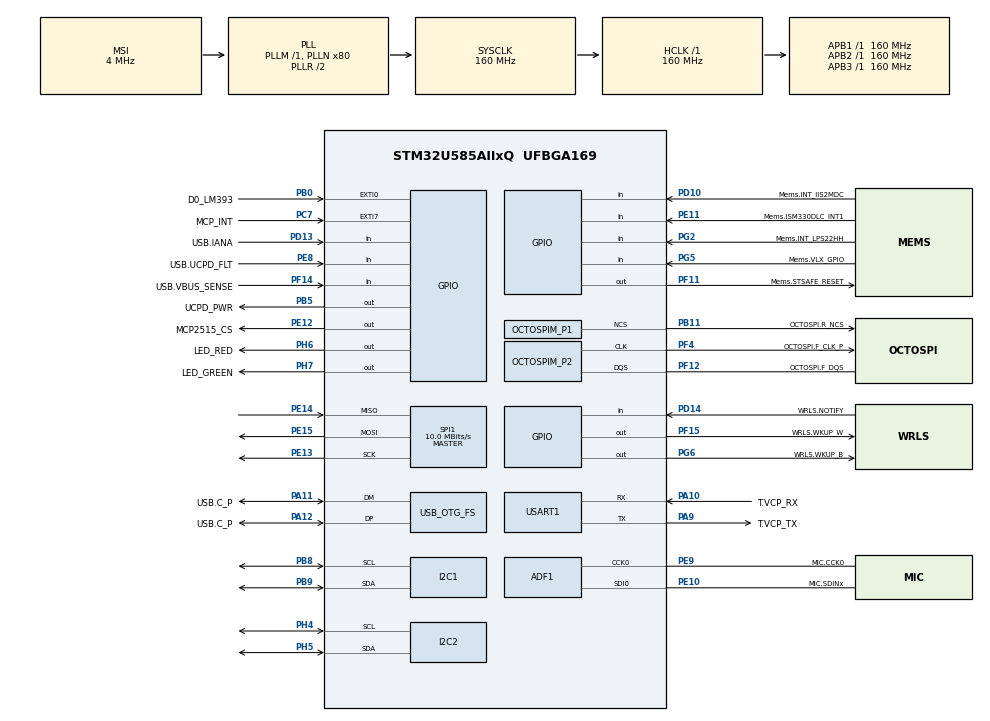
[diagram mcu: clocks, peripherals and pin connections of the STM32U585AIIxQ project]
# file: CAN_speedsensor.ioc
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CORTEX_M33_NS.userName=CORTEX_M33
I2C1.Timing=0x30909DEC
I2C2.Timing=0x30909DEC
Mcu.Family=STM32U5
Mcu.Name=STM32U585AIIxQ
Mcu.Package=UFBGA169
NVIC.EXTI0_IRQn=true\:0\:0\:false\:false\:true\:false\:true\:true\:true
NVIC.EXTI7_IRQn=true\:0\:0\:false\:false\:true\:false\:true\:true\:true
NVIC.PriorityGroup=NVIC_PRIORITYGROUP_4
NVIC.TIM6_IRQn=true\:15\:0\:false\:false\:true\:false\:false\:true\:true
NVIC.TimeBase=TIM6_IRQn
NVIC.TimeBaseIP=TIM6
OCTOSPI1.ChipSelectBoundary=10
OCTOSPI1.ClockPrescaler=2
OCTOSPI1.DelayBlockBypass=HAL_OSPI_DELAY_BLOCK_USED
OCTOSPI1.DelayHoldQuarterCycle=HAL_OSPI_DHQC_ENABLE
OCTOSPI1.DeviceSize=23
OCTOSPI1.MemoryType=HAL_OSPI_MEMTYPE_APMEMORY
OCTOSPI1.Refresh=100
OCTOSPI2.ChipSelectBoundary=0
OCTOSPI2.ChipSelectHighTime=2
OCTOSPI2.ClockPrescaler=4
OCTOSPI2.DelayBlockBypass=HAL_OSPI_DELAY_BLOCK_USED
OCTOSPI2.DelayHoldQuarterCycle=HAL_OSPI_DHQC_ENABLE
OCTOSPI2.DeviceSize=26
OCTOSPI2.FifoThreshold=4
OCTOSPI2.MemoryType=HAL_OSPI_MEMTYPE_MACRONIX
PA10.GPIO_Label=T.VCP_RX
PA10.Mode=Asynchronous
PA10.Signal=USART1_RX
PA11.GPIO_Label=USB.C_P
PA11.Mode=Device_Only
PA11.Signal=USB_OTG_FS_DM
PA12.GPIO_Label=USB.C_P
PA12.Mode=Device_Only
PA12.Signal=USB_OTG_FS_DP
PA13\ (JTMS/SWDIO).GPIO_Label=T.SWDIO
PA13\ (JTMS/SWDIO).Mode=Trace_Asynchronous_SW
PA13\ (JTMS/SWDIO).Signal=DEBUG_JTMS-SWDIO
PA14\ (JTCK/SWCLK).GPIO_Label=T.SWCLK
PA14\ (JTCK/SWCLK).Mode=Trace_Asynchronous_SW
PA14\ (JTCK/SWCLK).Signal=DEBUG_JTCK-SWCLK
PA9.GPIO_Label=T.VCP_TX
PA9.Mode=Asynchronous
PA9.Signal=USART1_TX
PB0.GPIO_Label=D0_LM393
PB0.GPIO_ModeDefaultEXTI=GPIO_MODE_IT_FALLING
PB0.GPIO_PuPd=GPIO_PULLUP
PB0.Signal=GPXTI0
PB11.GPIO_Label=OCTOSPI.R_NCS
PB11.Mode=OCTOSPI1_Port1_NCS
PB11.Signal=OCTOSPIM_P1_NCS
PB15.GPIO_Label=USB.UCPD_CC2
PB15.Signal=UCPD1_CC2
PB3\ (JTDO/TRACESWO).GPIO_Label=T.SWO
PB3\ (JTDO/TRACESWO).Mode=Trace_Asynchronous_SW
PB3\ (JTDO/TRACESWO).Signal=DEBUG_JTDO-SWO
PB5.GPIO_Label=UCPD_PWR
PB5.Signal=GPIO_Output
PB8.Mode=I2C
PB8.Signal=I2C1_SCL
PB9.Mode=I2C
PB9.Signal=I2C1_SDA
PC10.GPIO_Label=WRLS.UART4_TX
PC10.Signal=UART4_TX
PC7.GPIO_Label=MCP_INT
PC7.GPIO_ModeDefaultEXTI=GPIO_MODE_IT_FALLING
PC7.GPIO_PuPd=GPIO_PULLUP
PC7.Signal=GPXTI7
PD10.GPIO_Label=Mems.INT_IIS2MDC
PD10.Signal=GPIO_Input
PD13.GPIO_Label=USB.IANA
PD13.Signal=GPIO_Input
PD14.GPIO_Label=WRLS.NOTIFY
PD14.Signal=GPIO_Input
PD3.GPIO_Mode=GPIO_MODE_AF_PP
PD3.GPIO_PuPd=GPIO_NOPULL
PD3.GPIO_Speed=GPIO_SPEED_FREQ_LOW
PD3.Signal=SPI2_MISO
PD4.GPIO_Mode=GPIO_MODE_AF_PP
PD4.GPIO_PuPd=GPIO_NOPULL
PD4.GPIO_Speed=GPIO_SPEED_FREQ_LOW
PD4.Signal=SPI2_MOSI
PE10.GPIO_Label=MIC.SDINx
PE10.Mode=MOD_ADF_CCK
PE10.Signal=ADF1_SDI0
PE11.GPIO_Label=Mems.ISM330DLC_INT1
PE11.Signal=GPIO_Input
PE12.GPIO_Label=MCP2515_CS
PE12.GPIO_PuPd=GPIO_NOPULL
PE12.PinState=GPIO_PIN_SET
PE12.Signal=GPIO_Output
PE13.Mode=Full_Duplex_Master
PE13.Signal=SPI1_SCK
PE14.Mode=Full_Duplex_Master
PE14.Signal=SPI1_MISO
PE15.Mode=Full_Duplex_Master
PE15.Signal=SPI1_MOSI
PE8.GPIO_Label=USB.UCPD_FLT
PE8.Signal=GPIO_Input
PE9.GPIO_Label=MIC.CCK0
PE9.Mode=MOD_MDF_CCK0
PE9.Signal=ADF1_CCK0
PF11.GPIO_Label=Mems.STSAFE_RESET
PF11.Signal=GPIO_Output
PF12.GPIO_Label=OCTOSPI.F_DQS
PF12.Mode=OCTOSPI2_Port2_DQS
PF12.Signal=OCTOSPIM_P2_DQS
PF14.GPIO_Label=USB.VBUS_SENSE
PF14.Signal=GPIO_Input
PF15.GPIO_Label=WRLS.WKUP_W
PF15.Signal=GPIO_Output
PF4.GPIO_Label=OCTOSPI.F_CLK_P
PF4.Mode=O2_P2_CLK
PF4.Signal=OCTOSPIM_P2_CLK
PG2.GPIO_Label=Mems.INT_LPS22HH
PG2.Signal=GPIO_Input
PG5.GPIO_Label=Mems.VLX_GPIO
PG5.Signal=GPIO_Input
PG6.GPIO_Label=WRLS.WKUP_B
PG6.Signal=GPIO_Output
PH4.Mode=I2C
PH4.Signal=I2C2_SCL
PH5.Mode=I2C
PH5.Signal=I2C2_SDA
PH6.GPIO_Label=LED_RED
PH6.Signal=GPIO_Output
PH7.GPIO_Label=LED_GREEN
PH7.Signal=GPIO_Output
PH9.GPIO_Label=OCTOSPI.F_IO4
PH9.Signal=OCTOSPIM_P2_IO4
PWR.PowerMode=PWR_SMPS_SUPPLY
ProjectManager.HeapSize=0x200
ProjectManager.StackSize=0x400
ProjectManager.TargetToolchain=STM32CubeIDE
RCC.ADCFreq_Value=16000000
RCC.AHBFreq_Value=160000000
RCC.APB1Freq_Value=160000000
RCC.APB1TimFreq_Value=160000000
RCC.APB2Freq_Value=160000000
RCC.APB2TimFreq_Value=160000000
RCC.APB3Freq_Value=160000000
RCC.CortexFreq_Value=160000000
RCC.DACCLockSelectionVirtual=RCC_DAC1CLKSOURCE_LSI
RCC.EPOD_VALUE=4000000
RCC.HCLKFreq_Value=160000000
RCC.HSE_VALUE=16000000
RCC.HSI48_VALUE=48000000
RCC.HSI_VALUE=16000000
RCC.LSE_VALUE=32768
RCC.LSIDIV_VALUE=32000
RCC.MSI_VALUE=4000000
RCC.PLLN=80
RCC.SYSCLKFreq_VALUE=160000000
RCC.SYSCLKSource=RCC_SYSCLKSOURCE_PLLCLK
RCC.USBFreq_Value=48000000
RCC.VCOOutputFreq_Value=320000000
SPI1.BaudRatePrescaler=SPI_BAUDRATEPRESCALER_16
SPI1.CalculateBaudRate=10.0 MBits/s
SPI1.DataSize=SPI_DATASIZE_8BIT
SPI1.Direction=SPI_DIRECTION_2LINES
SPI1.Mode=SPI_MODE_MASTER
SPI1.VirtualType=VM_MASTER
USART1.VirtualMode-Asynchronous=VM_ASYNC
USB_OTG_FS.VirtualMode=Device_Only
VP_ICACHE_VS_ICACHE.Mode=DirectMappedCache
VP_LPBAMQUEUE_VS_QUEUE.Mode=QUEUEMODE
VP_LPBAM_VS_SIG1.Mode=SmartRun
VP_LPBAM_VS_SIG4.Mode=LPDMA1
VP_MEMORYMAP_VS_MEMORYMAP.Mode=CurAppReg
VP_OCTOSPI1_VS_octo.Mode=octo_mode
VP_OCTOSPI2_VS_octo.Mode=octo_mode
VP_PWR_VS_DBSignals.Mode=DisableDeadBatterySignals
VP_PWR_VS_LPOM.Mode=PowerOptimisation
VP_PWR_VS_SECSignals.Mode=Security/Privilege
VP_SYS_VS_tim6.Mode=TIM6
VP_THREADX_VS_RTOSJjThreadXJjCoreJjDefault.Mode=Core_Default
board=B-U585I-IOT02A

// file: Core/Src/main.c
/* USER CODE BEGIN Header */
/**
  ******************************************************************************
  * @file           : main.c
  * @brief          : Main program body
  ******************************************************************************
  * @attention
  *
  * Copyright (c) 2025 STMicroelectronics.
  * All rights reserved.
  *
  * This software is licensed under terms that can be found in the LICENSE file
  * in the root directory of this software component.
  * If no LICENSE file comes with this software, it is provided AS-IS.
  *
  ******************************************************************************
  */
/* USER CODE END Header */
#include "app_threadx.h"
#include "main.h"

/* USER CODE BEGIN Includes */
#include "mcp2515.h"
#include <string.h>
#include <stdio.h>
#include "core_cm33.h"
/* USER CODE END Includes */

/* USER CODE BEGIN PD */
#define PULSOS_POR_ROTACAO 20  // Number of holes in the encoder disc
#define INTERVALO_ENVIO_MS 100 // Updates the RPM and sends CAN every 100ms (10Hz)
/* USER CODE END PD */

MDF_HandleTypeDef AdfHandle0;
MDF_FilterConfigTypeDef AdfFilterConfig0;

I2C_HandleTypeDef hi2c1;
I2C_HandleTypeDef hi2c2;

OSPI_HandleTypeDef hospi1;
OSPI_HandleTypeDef hospi2;

SPI_HandleTypeDef hspi1;

UART_HandleTypeDef huart1;

PCD_HandleTypeDef hpcd_USB_OTG_FS;

void SystemClock_Config(void);
static void SystemPower_Config(void);
static void MX_GPIO_Init(void);
static void MX_ADF1_Init(void);
static void MX_I2C1_Init(void);
static void MX_I2C2_Init(void);
static void MX_ICACHE_Init(void);
static void MX_OCTOSPI1_Init(void);
static void MX_OCTOSPI2_Init(void);
static void MX_USART1_UART_Init(void);
static void MX_USB_OTG_FS_PCD_Init(void);
static void MX_SPI1_Init(void);

/* USER CODE BEGIN 0 */

//Debug SWV print
int _write(int file, char *ptr, int len) {
    for (int i = 0; i < len; i++) {
        ITM_SendChar(*ptr++);
    }
    return len;
}

/* USER CODE END 0 */

int main(void)
{

  /* MCU Configuration--------------------------------------------------------*/

  /* Reset of all peripherals, Initializes the Flash interface and the Systick. */
  HAL_Init();

  /* Configure the System Power */
  SystemPower_Config();

  /* Configure the system clock */
  SystemClock_Config();

  /* Initialize all configured peripherals */
  MX_GPIO_Init();
  MX_ADF1_Init();
  MX_I2C1_Init();
  MX_I2C2_Init();
  MX_ICACHE_Init();
  MX_OCTOSPI1_Init();
  MX_OCTOSPI2_Init();
  MX_USART1_UART_Init();
  MX_USB_OTG_FS_PCD_Init();
  MX_SPI1_Init();
  /* USER CODE BEGIN 2 */
  	//just for debugging, delete afterwards
    printf("\n--- Sensor initialization check ---\n");

    uint32_t primask = __get_PRIMASK();
    printf("PRIMASK: %lu (It should be 0. If it's 1, interrupts are globally disabled.)\n", primask);
    printf("SCB->VTOR: 0x%08lX (should be 0x08000000)\n", SCB->VTOR);
    printf("ISER[0] final: 0x%08lX\n", NVIC->ISER[0]);

    printf("SWIER Direct Test...\n");

    uint32_t count_antes = pulse_count;

    // !!!!!!!!!!!NAO APAGAR ESSA LINHA!!!!!!!!!!!!!
    EXTI->SWIER1 = (1 << 0);

//    HAL_Delay(100);

    if (pulse_count > count_antes) {
        printf("!!! SUCCESS !!! The sensor code entered the interrupt.\n");
    } else {
        printf("TOTAL FAILURE. The processor refuses to jump to the address. \n");
    }
  /* USER CODE END 2 */

  MX_ThreadX_Init();

  /* We should never get here as control is now taken by the scheduler */

  /* Infinite loop */
  while (1)
  {

  }
}

void SystemClock_Config(void)
{
  RCC_OscInitTypeDef RCC_OscInitStruct = {0};
  RCC_ClkInitTypeDef RCC_ClkInitStruct = {0};

  /** Configure the main internal regulator output voltage
  */
  if (HAL_PWREx_ControlVoltageScaling(PWR_REGULATOR_VOLTAGE_SCALE1) != HAL_OK)
  {
    Error_Handler();
  }

  /** Initializes the CPU, AHB and APB buses clocks
  */
  RCC_OscInitStruct.OscillatorType = RCC_OSCILLATORTYPE_HSI48|RCC_OSCILLATORTYPE_MSI;
  RCC_OscInitStruct.HSI48State = RCC_HSI48_ON;
  RCC_OscInitStruct.MSIState = RCC_MSI_ON;
  RCC_OscInitStruct.MSICalibrationValue = RCC_MSICALIBRATION_DEFAULT;
  RCC_OscInitStruct.MSIClockRange = RCC_MSIRANGE_4;
  RCC_OscInitStruct.PLL.PLLState = RCC_PLL_ON;
  RCC_OscInitStruct.PLL.PLLSource = RCC_PLLSOURCE_MSI;
  RCC_OscInitStruct.PLL.PLLMBOOST = RCC_PLLMBOOST_DIV1;
  RCC_OscInitStruct.PLL.PLLM = 1;
  RCC_OscInitStruct.PLL.PLLN = 80;
  RCC_OscInitStruct.PLL.PLLP = 2;
  RCC_OscInitStruct.PLL.PLLQ = 2;
  RCC_OscInitStruct.PLL.PLLR = 2;
  RCC_OscInitStruct.PLL.PLLRGE = RCC_PLLVCIRANGE_0;
  RCC_OscInitStruct.PLL.PLLFRACN = 0;
  if (HAL_RCC_OscConfig(&RCC_OscInitStruct) != HAL_OK)
  {
    Error_Handler();
  }

  /** Initializes the CPU, AHB and APB buses clocks
  */
  RCC_ClkInitStruct.ClockType = RCC_CLOCKTYPE_HCLK|RCC_CLOCKTYPE_SYSCLK
                              |RCC_CLOCKTYPE_PCLK1|RCC_CLOCKTYPE_PCLK2
                              |RCC_CLOCKTYPE_PCLK3;
  RCC_ClkInitStruct.SYSCLKSource = RCC_SYSCLKSOURCE_PLLCLK;
  RCC_ClkInitStruct.AHBCLKDivider = RCC_SYSCLK_DIV1;
  RCC_ClkInitStruct.APB1CLKDivider = RCC_HCLK_DIV1;
  RCC_ClkInitStruct.APB2CLKDivider = RCC_HCLK_DIV1;
  RCC_ClkInitStruct.APB3CLKDivider = RCC_HCLK_DIV1;

  if (HAL_RCC_ClockConfig(&RCC_ClkInitStruct, FLASH_LATENCY_4) != HAL_OK)
  {
    Error_Handler();
  }
}

/**
  * @brief Power Configuration
  * @retval None
  */
static void SystemPower_Config(void)
{
  HAL_PWREx_EnableVddIO2();

  /*
   * Disable the internal Pull-Up in Dead Battery pins of UCPD peripheral
   */
  HAL_PWREx_DisableUCPDDeadBattery();

  /*
   * Switch to SMPS regulator instead of LDO
   */
  if (HAL_PWREx_ConfigSupply(PWR_SMPS_SUPPLY) != HAL_OK)
  {
    Error_Handler();
  }
}

static void MX_ADF1_Init(void)
{

  /**
    AdfHandle0 structure initialization and HAL_MDF_Init function call
  */
  AdfHandle0.Instance = ADF1_Filter0;
  AdfHandle0.Init.CommonParam.ProcClockDivider = 1;
  AdfHandle0.Init.CommonParam.OutputClock.Activation = DISABLE;
  AdfHandle0.Init.SerialInterface.Activation = ENABLE;
  AdfHandle0.Init.SerialInterface.Mode = MDF_SITF_LF_MASTER_SPI_MODE;
  AdfHandle0.Init.SerialInterface.ClockSource = MDF_SITF_CCK0_SOURCE;
  AdfHandle0.Init.SerialInterface.Threshold = 4;
  AdfHandle0.Init.FilterBistream = MDF_BITSTREAM0_FALLING;
  if (HAL_MDF_Init(&AdfHandle0) != HAL_OK)
  {
    Error_Handler();
  }

  /**
    AdfFilterConfig0 structure initialization

    WARNING : only structure is filled, no specific init function call for filter
  */
  AdfFilterConfig0.DataSource = MDF_DATA_SOURCE_BSMX;
  AdfFilterConfig0.Delay = 0;
  AdfFilterConfig0.CicMode = MDF_ONE_FILTER_SINC4;
  AdfFilterConfig0.DecimationRatio = 2;
  AdfFilterConfig0.Gain = 0;
  AdfFilterConfig0.ReshapeFilter.Activation = DISABLE;
  AdfFilterConfig0.HighPassFilter.Activation = DISABLE;
  AdfFilterConfig0.SoundActivity.Activation = DISABLE;
  AdfFilterConfig0.AcquisitionMode = MDF_MODE_ASYNC_CONT;
  AdfFilterConfig0.FifoThreshold = MDF_FIFO_THRESHOLD_NOT_EMPTY;
  AdfFilterConfig0.DiscardSamples = 0;

}

static void MX_I2C1_Init(void)
{

  hi2c1.Instance = I2C1;
  hi2c1.Init.Timing = 0x30909DEC;
  hi2c1.Init.OwnAddress1 = 0;
  hi2c1.Init.AddressingMode = I2C_ADDRESSINGMODE_7BIT;
  hi2c1.Init.DualAddressMode = I2C_DUALADDRESS_DISABLE;
  hi2c1.Init.OwnAddress2 = 0;
  hi2c1.Init.OwnAddress2Masks = I2C_OA2_NOMASK;
  hi2c1.Init.GeneralCallMode = I2C_GENERALCALL_DISABLE;
  hi2c1.Init.NoStretchMode = I2C_NOSTRETCH_DISABLE;
  if (HAL_I2C_Init(&hi2c1) != HAL_OK)
  {
    Error_Handler();
  }

  /** Configure Analogue filter
  */
  if (HAL_I2CEx_ConfigAnalogFilter(&hi2c1, I2C_ANALOGFILTER_ENABLE) != HAL_OK)
  {
    Error_Handler();
  }

  /** Configure Digital filter
  */
  if (HAL_I2CEx_ConfigDigitalFilter(&hi2c1, 0) != HAL_OK)
  {
    Error_Handler();
  }

}

static void MX_I2C2_Init(void)
{

  hi2c2.Instance = I2C2;
  hi2c2.Init.Timing = 0x30909DEC;
  hi2c2.Init.OwnAddress1 = 0;
  hi2c2.Init.AddressingMode = I2C_ADDRESSINGMODE_7BIT;
  hi2c2.Init.DualAddressMode = I2C_DUALADDRESS_DISABLE;
  hi2c2.Init.OwnAddress2 = 0;
  hi2c2.Init.OwnAddress2Masks = I2C_OA2_NOMASK;
  hi2c2.Init.GeneralCallMode = I2C_GENERALCALL_DISABLE;
  hi2c2.Init.NoStretchMode = I2C_NOSTRETCH_DISABLE;
  if (HAL_I2C_Init(&hi2c2) != HAL_OK)
  {
    Error_Handler();
  }

  /** Configure Analogue filter
  */
  if (HAL_I2CEx_ConfigAnalogFilter(&hi2c2, I2C_ANALOGFILTER_ENABLE) != HAL_OK)
  {
    Error_Handler();
  }

  /** Configure Digital filter
  */
  if (HAL_I2CEx_ConfigDigitalFilter(&hi2c2, 0) != HAL_OK)
  {
    Error_Handler();
  }

}

static void MX_ICACHE_Init(void)
{

  /** Enable instruction cache in 1-way (direct mapped cache)
  */
  if (HAL_ICACHE_ConfigAssociativityMode(ICACHE_1WAY) != HAL_OK)
  {
    Error_Handler();
  }
  if (HAL_ICACHE_Enable() != HAL_OK)
  {
    Error_Handler();
  }

}

static void MX_OCTOSPI1_Init(void)
{

  OSPIM_CfgTypeDef sOspiManagerCfg = {0};
  HAL_OSPI_DLYB_CfgTypeDef HAL_OSPI_DLYB_Cfg_Struct = {0};

  /* OCTOSPI1 parameter configuration*/
  hospi1.Instance = OCTOSPI1;
  hospi1.Init.FifoThreshold = 1;
  hospi1.Init.DualQuad = HAL_OSPI_DUALQUAD_DISABLE;
  hospi1.Init.MemoryType = HAL_OSPI_MEMTYPE_APMEMORY;
  hospi1.Init.DeviceSize = 23;
  hospi1.Init.ChipSelectHighTime = 1;
  hospi1.Init.FreeRunningClock = HAL_OSPI_FREERUNCLK_DISABLE;
  hospi1.Init.ClockMode = HAL_OSPI_CLOCK_MODE_0;
  hospi1.Init.WrapSize = HAL_OSPI_WRAP_NOT_SUPPORTED;
  hospi1.Init.ClockPrescaler = 2;
  hospi1.Init.SampleShifting = HAL_OSPI_SAMPLE_SHIFTING_NONE;
  hospi1.Init.DelayHoldQuarterCycle = HAL_OSPI_DHQC_ENABLE;
  hospi1.Init.ChipSelectBoundary = 10;
  hospi1.Init.DelayBlockBypass = HAL_OSPI_DELAY_BLOCK_USED;
  hospi1.Init.MaxTran = 0;
  hospi1.Init.Refresh = 100;
  if (HAL_OSPI_Init(&hospi1) != HAL_OK)
  {
    Error_Handler();
  }
  sOspiManagerCfg.NCSPort = 1;
  if (HAL_OSPIM_Config(&hospi1, &sOspiManagerCfg, HAL_OSPI_TIMEOUT_DEFAULT_VALUE) != HAL_OK)
  {
    Error_Handler();
  }
  HAL_OSPI_DLYB_Cfg_Struct.Units = 0;
  HAL_OSPI_DLYB_Cfg_Struct.PhaseSel = 0;
  if (HAL_OSPI_DLYB_SetConfig(&hospi1, &HAL_OSPI_DLYB_Cfg_Struct) != HAL_OK)
  {
    Error_Handler();
  }

}

static void MX_OCTOSPI2_Init(void)
{

  OSPIM_CfgTypeDef sOspiManagerCfg = {0};
  HAL_OSPI_DLYB_CfgTypeDef HAL_OSPI_DLYB_Cfg_Struct = {0};

  /* OCTOSPI2 parameter configuration*/
  hospi2.Instance = OCTOSPI2;
  hospi2.Init.FifoThreshold = 4;
  hospi2.Init.DualQuad = HAL_OSPI_DUALQUAD_DISABLE;
  hospi2.Init.MemoryType = HAL_OSPI_MEMTYPE_MACRONIX;
  hospi2.Init.DeviceSize = 26;
  hospi2.Init.ChipSelectHighTime = 2;
  hospi2.Init.FreeRunningClock = HAL_OSPI_FREERUNCLK_DISABLE;
  hospi2.Init.ClockMode = HAL_OSPI_CLOCK_MODE_0;
  hospi2.Init.WrapSize = HAL_OSPI_WRAP_NOT_SUPPORTED;
  hospi2.Init.ClockPrescaler = 4;
  hospi2.Init.SampleShifting = HAL_OSPI_SAMPLE_SHIFTING_NONE;
  hospi2.Init.DelayHoldQuarterCycle = HAL_OSPI_DHQC_ENABLE;
  hospi2.Init.ChipSelectBoundary = 0;
  hospi2.Init.DelayBlockBypass = HAL_OSPI_DELAY_BLOCK_USED;
  hospi2.Init.MaxTran = 0;
  hospi2.Init.Refresh = 0;
  if (HAL_OSPI_Init(&hospi2) != HAL_OK)
  {
    Error_Handler();
  }
  sOspiManagerCfg.ClkPort = 2;
  sOspiManagerCfg.DQSPort = 2;
  if (HAL_OSPIM_Config(&hospi2, &sOspiManagerCfg, HAL_OSPI_TIMEOUT_DEFAULT_VALUE) != HAL_OK)
  {
    Error_Handler();
  }
  HAL_OSPI_DLYB_Cfg_Struct.Units = 0;
  HAL_OSPI_DLYB_Cfg_Struct.PhaseSel = 0;
  if (HAL_OSPI_DLYB_SetConfig(&hospi2, &HAL_OSPI_DLYB_Cfg_Struct) != HAL_OK)
  {
    Error_Handler();
  }

}

static void MX_SPI1_Init(void)
{

  SPI_AutonomousModeConfTypeDef HAL_SPI_AutonomousMode_Cfg_Struct = {0};

  /* SPI1 parameter configuration*/
  hspi1.Instance = SPI1;
  hspi1.Init.Mode = SPI_MODE_MASTER;
  hspi1.Init.Direction = SPI_DIRECTION_2LINES;
  hspi1.Init.DataSize = SPI_DATASIZE_8BIT;
  hspi1.Init.CLKPolarity = SPI_POLARITY_LOW;
  hspi1.Init.CLKPhase = SPI_PHASE_1EDGE;
  hspi1.Init.NSS = SPI_NSS_SOFT;
  hspi1.Init.BaudRatePrescaler = SPI_BAUDRATEPRESCALER_16;
  hspi1.Init.FirstBit = SPI_FIRSTBIT_MSB;
  hspi1.Init.TIMode = SPI_TIMODE_DISABLE;
  hspi1.Init.CRCCalculation = SPI_CRCCALCULATION_DISABLE;
  hspi1.Init.CRCPolynomial = 0x7;
  hspi1.Init.NSSPMode = SPI_NSS_PULSE_ENABLE;
  hspi1.Init.NSSPolarity = SPI_NSS_POLARITY_LOW;
  hspi1.Init.FifoThreshold = SPI_FIFO_THRESHOLD_01DATA;
  hspi1.Init.MasterSSIdleness = SPI_MASTER_SS_IDLENESS_00CYCLE;
  hspi1.Init.MasterInterDataIdleness = SPI_MASTER_INTERDATA_IDLENESS_00CYCLE;
  hspi1.Init.MasterReceiverAutoSusp = SPI_MASTER_RX_AUTOSUSP_DISABLE;
  hspi1.Init.MasterKeepIOState = SPI_MASTER_KEEP_IO_STATE_DISABLE;
  hspi1.Init.IOSwap = SPI_IO_SWAP_DISABLE;
  hspi1.Init.ReadyMasterManagement = SPI_RDY_MASTER_MANAGEMENT_INTERNALLY;
  hspi1.Init.ReadyPolarity = SPI_RDY_POLARITY_HIGH;
  if (HAL_SPI_Init(&hspi1) != HAL_OK)
  {
    Error_Handler();
  }
  HAL_SPI_AutonomousMode_Cfg_Struct.TriggerState = SPI_AUTO_MODE_DISABLE;
  HAL_SPI_AutonomousMode_Cfg_Struct.TriggerSelection = SPI_GRP1_GPDMA_CH0_TCF_TRG;
  HAL_SPI_AutonomousMode_Cfg_Struct.TriggerPolarity = SPI_TRIG_POLARITY_RISING;
  if (HAL_SPIEx_SetConfigAutonomousMode(&hspi1, &HAL_SPI_AutonomousMode_Cfg_Struct) != HAL_OK)
  {
    Error_Handler();
  }

}

static void MX_USART1_UART_Init(void)
{

  huart1.Instance = USART1;
  huart1.Init.BaudRate = 115200;
  huart1.Init.WordLength = UART_WORDLENGTH_8B;
  huart1.Init.StopBits = UART_STOPBITS_1;
  huart1.Init.Parity = UART_PARITY_NONE;
  huart1.Init.Mode = UART_MODE_TX_RX;
  huart1.Init.HwFlowCtl = UART_HWCONTROL_NONE;
  huart1.Init.OverSampling = UART_OVERSAMPLING_16;
  huart1.Init.OneBitSampling = UART_ONE_BIT_SAMPLE_DISABLE;
  huart1.Init.ClockPrescaler = UART_PRESCALER_DIV1;
  huart1.AdvancedInit.AdvFeatureInit = UART_ADVFEATURE_NO_INIT;
  if (HAL_UART_Init(&huart1) != HAL_OK)
  {
    Error_Handler();
  }
  if (HAL_UARTEx_SetTxFifoThreshold(&huart1, UART_TXFIFO_THRESHOLD_1_8) != HAL_OK)
  {
    Error_Handler();
  }
  if (HAL_UARTEx_SetRxFifoThreshold(&huart1, UART_RXFIFO_THRESHOLD_1_8) != HAL_OK)
  {
    Error_Handler();
  }
  if (HAL_UARTEx_DisableFifoMode(&huart1) != HAL_OK)
  {
    Error_Handler();
  }

}

static void MX_USB_OTG_FS_PCD_Init(void)
{

  hpcd_USB_OTG_FS.Instance = USB_OTG_FS;
  hpcd_USB_OTG_FS.Init.dev_endpoints = 6;
  hpcd_USB_OTG_FS.Init.speed = PCD_SPEED_FULL;
  hpcd_USB_OTG_FS.Init.phy_itface = PCD_PHY_EMBEDDED;
  hpcd_USB_OTG_FS.Init.Sof_enable = DISABLE;
  hpcd_USB_OTG_FS.Init.low_power_enable = DISABLE;
  hpcd_USB_OTG_FS.Init.lpm_enable = DISABLE;
  hpcd_USB_OTG_FS.Init.battery_charging_enable = DISABLE;
  hpcd_USB_OTG_FS.Init.use_dedicated_ep1 = DISABLE;
  hpcd_USB_OTG_FS.Init.vbus_sensing_enable = DISABLE;
  hpcd_USB_OTG_FS.Init.dma_enable = DISABLE;
  if (HAL_PCD_Init(&hpcd_USB_OTG_FS) != HAL_OK)
  {
    Error_Handler();
  }

}

static void MX_GPIO_Init(void)
{
  GPIO_InitTypeDef GPIO_InitStruct = {0};

  /* GPIO Ports Clock Enable */
  __HAL_RCC_GPIOB_CLK_ENABLE();
  __HAL_RCC_GPIOD_CLK_ENABLE();
  __HAL_RCC_GPIOC_CLK_ENABLE();
  __HAL_RCC_GPIOA_CLK_ENABLE();
  __HAL_RCC_GPIOH_CLK_ENABLE();
  __HAL_RCC_GPIOF_CLK_ENABLE();
  __HAL_RCC_GPIOE_CLK_ENABLE();
  __HAL_RCC_GPIOG_CLK_ENABLE();

  /*Configure GPIO pin Output Level */
  HAL_GPIO_WritePin(UCPD_PWR_GPIO_Port, UCPD_PWR_Pin, GPIO_PIN_RESET);

  /*Configure GPIO pin Output Level */
  HAL_GPIO_WritePin(GPIOH, LED_RED_Pin|LED_GREEN_Pin, GPIO_PIN_RESET);

  /*Configure GPIO pin Output Level */
  HAL_GPIO_WritePin(WRLS_WKUP_B_GPIO_Port, WRLS_WKUP_B_Pin, GPIO_PIN_RESET);

  /*Configure GPIO pin Output Level */
  HAL_GPIO_WritePin(GPIOF, Mems_STSAFE_RESET_Pin|WRLS_WKUP_W_Pin, GPIO_PIN_RESET);

  /*Configure GPIO pin Output Level */
  HAL_GPIO_WritePin(MCP2515_CS_GPIO_Port, MCP2515_CS_Pin, GPIO_PIN_SET);

  /*Configure GPIO pin : UCPD_PWR_Pin */
  GPIO_InitStruct.Pin = UCPD_PWR_Pin;
  GPIO_InitStruct.Mode = GPIO_MODE_OUTPUT_PP;
  GPIO_InitStruct.Pull = GPIO_NOPULL;
  GPIO_InitStruct.Speed = GPIO_SPEED_FREQ_LOW;
  HAL_GPIO_Init(UCPD_PWR_GPIO_Port, &GPIO_InitStruct);

  /*Configure GPIO pins : PD4 PD3 */
  GPIO_InitStruct.Pin = GPIO_PIN_4|GPIO_PIN_3;
  GPIO_InitStruct.Mode = GPIO_MODE_AF_PP;
  GPIO_InitStruct.Pull = GPIO_NOPULL;
  GPIO_InitStruct.Speed = GPIO_SPEED_FREQ_LOW;
  GPIO_InitStruct.Alternate = GPIO_AF5_SPI2;
  HAL_GPIO_Init(GPIOD, &GPIO_InitStruct);

  /*Configure GPIO pin : WRLS_UART4_TX_Pin */
  GPIO_InitStruct.Pin = WRLS_UART4_TX_Pin;
  GPIO_InitStruct.Mode = GPIO_MODE_AF_PP;
  GPIO_InitStruct.Pull = GPIO_NOPULL;
  GPIO_InitStruct.Speed = GPIO_SPEED_FREQ_LOW;
  GPIO_InitStruct.Alternate = GPIO_AF8_UART4;
  HAL_GPIO_Init(WRLS_UART4_TX_GPIO_Port, &GPIO_InitStruct);

  /*Configure GPIO pin : OCTOSPI_F_IO4_Pin */
  GPIO_InitStruct.Pin = OCTOSPI_F_IO4_Pin;
  GPIO_InitStruct.Mode = GPIO_MODE_AF_PP;
  GPIO_InitStruct.Pull = GPIO_NOPULL;
  GPIO_InitStruct.Speed = GPIO_SPEED_FREQ_VERY_HIGH;
  GPIO_InitStruct.Alternate = GPIO_AF5_OCTOSPI2;
  HAL_GPIO_Init(OCTOSPI_F_IO4_GPIO_Port, &GPIO_InitStruct);

  /*Configure GPIO pins : LED_RED_Pin LED_GREEN_Pin */
  GPIO_InitStruct.Pin = LED_RED_Pin|LED_GREEN_Pin;
  GPIO_InitStruct.Mode = GPIO_MODE_OUTPUT_PP;
  GPIO_InitStruct.Pull = GPIO_NOPULL;
  GPIO_InitStruct.Speed = GPIO_SPEED_FREQ_LOW;
  HAL_GPIO_Init(GPIOH, &GPIO_InitStruct);

  /*Configure GPIO pin : MCP_INT_Pin */
  GPIO_InitStruct.Pin = MCP_INT_Pin;
  GPIO_InitStruct.Mode = GPIO_MODE_IT_FALLING;
  GPIO_InitStruct.Pull = GPIO_PULLUP;
  HAL_GPIO_Init(MCP_INT_GPIO_Port, &GPIO_InitStruct);

  /*Configure GPIO pin : WRLS_WKUP_B_Pin */
  GPIO_InitStruct.Pin = WRLS_WKUP_B_Pin;
  GPIO_InitStruct.Mode = GPIO_MODE_OUTPUT_PP;
  GPIO_InitStruct.Pull = GPIO_NOPULL;
  GPIO_InitStruct.Speed = GPIO_SPEED_FREQ_LOW;
  HAL_GPIO_Init(WRLS_WKUP_B_GPIO_Port, &GPIO_InitStruct);

  /*Configure GPIO pins : Mems_VLX_GPIO_Pin Mems_INT_LPS22HH_Pin */
  GPIO_InitStruct.Pin = Mems_VLX_GPIO_Pin|Mems_INT_LPS22HH_Pin;
  GPIO_InitStruct.Mode = GPIO_MODE_INPUT;
  GPIO_InitStruct.Pull = GPIO_NOPULL;
  HAL_GPIO_Init(GPIOG, &GPIO_InitStruct);

  /*Configure GPIO pins : WRLS_NOTIFY_Pin Mems_INT_IIS2MDC_Pin USB_IANA_Pin */
  GPIO_InitStruct.Pin = WRLS_NOTIFY_Pin|Mems_INT_IIS2MDC_Pin|USB_IANA_Pin;
  GPIO_InitStruct.Mode = GPIO_MODE_INPUT;
  GPIO_InitStruct.Pull = GPIO_NOPULL;
  HAL_GPIO_Init(GPIOD, &GPIO_InitStruct);

  /*Configure GPIO pin : D0_LM393_Pin */
  GPIO_InitStruct.Pin = D0_LM393_Pin;
  GPIO_InitStruct.Mode = GPIO_MODE_IT_FALLING;
  GPIO_InitStruct.Pull = GPIO_PULLUP;
  HAL_GPIO_Init(D0_LM393_GPIO_Port, &GPIO_InitStruct);

  /*Configure GPIO pins : USB_UCPD_FLT_Pin Mems_ISM330DLC_INT1_Pin */
  GPIO_InitStruct.Pin = USB_UCPD_FLT_Pin|Mems_ISM330DLC_INT1_Pin;
  GPIO_InitStruct.Mode = GPIO_MODE_INPUT;
  GPIO_InitStruct.Pull = GPIO_NOPULL;
  HAL_GPIO_Init(GPIOE, &GPIO_InitStruct);

  /*Configure GPIO pin : USB_VBUS_SENSE_Pin */
  GPIO_InitStruct.Pin = USB_VBUS_SENSE_Pin;
  GPIO_InitStruct.Mode = GPIO_MODE_INPUT;
  GPIO_InitStruct.Pull = GPIO_NOPULL;
  HAL_GPIO_Init(USB_VBUS_SENSE_GPIO_Port, &GPIO_InitStruct);

  /*Configure GPIO pin : USB_UCPD_CC2_Pin */
  GPIO_InitStruct.Pin = USB_UCPD_CC2_Pin;
  GPIO_InitStruct.Mode = GPIO_MODE_ANALOG;
  GPIO_InitStruct.Pull = GPIO_NOPULL;
  HAL_GPIO_Init(USB_UCPD_CC2_GPIO_Port, &GPIO_InitStruct);

  /*Configure GPIO pins : Mems_STSAFE_RESET_Pin WRLS_WKUP_W_Pin */
  GPIO_InitStruct.Pin = Mems_STSAFE_RESET_Pin|WRLS_WKUP_W_Pin;
  GPIO_InitStruct.Mode = GPIO_MODE_OUTPUT_PP;
  GPIO_InitStruct.Pull = GPIO_NOPULL;
  GPIO_InitStruct.Speed = GPIO_SPEED_FREQ_LOW;
  HAL_GPIO_Init(GPIOF, &GPIO_InitStruct);

  /*Configure GPIO pin : MCP2515_CS_Pin */
  GPIO_InitStruct.Pin = MCP2515_CS_Pin;
  GPIO_InitStruct.Mode = GPIO_MODE_OUTPUT_PP;
  GPIO_InitStruct.Pull = GPIO_NOPULL;
  GPIO_InitStruct.Speed = GPIO_SPEED_FREQ_LOW;
  HAL_GPIO_Init(MCP2515_CS_GPIO_Port, &GPIO_InitStruct);

  /* EXTI interrupt init*/
  HAL_NVIC_SetPriority(EXTI0_IRQn, 0, 0);
  HAL_NVIC_EnableIRQ(EXTI0_IRQn);

  HAL_NVIC_SetPriority(EXTI7_IRQn, 0, 0);
  HAL_NVIC_EnableIRQ(EXTI7_IRQn);

  /* USER CODE BEGIN MX_GPIO_Init_2 */
  //Clear any pending flags BEFORE enabling.
  if (__HAL_GPIO_EXTI_GET_IT(D0_LM393_Pin) != 0x00u) {
    __HAL_GPIO_EXTI_CLEAR_IT(D0_LM393_Pin);
  }

  //Sensor - Top Priority (0)
  HAL_NVIC_SetPriority(EXTI0_IRQn, 0, 0);

  //Enables the Interrupt
  HAL_NVIC_EnableIRQ(EXTI0_IRQn);

  //CAN interruption
  HAL_NVIC_SetPriority(EXTI7_IRQn, 1, 0);
  HAL_NVIC_EnableIRQ(EXTI7_IRQn);
  /* USER CODE END MX_GPIO_Init_2 */
}

void HAL_TIM_PeriodElapsedCallback(TIM_HandleTypeDef *htim)
{
  if (htim->Instance == TIM6)
  {
    HAL_IncTick();
  }
}

void Error_Handler(void)
{
  __disable_irq();
  while (1)
  {
  }
}
